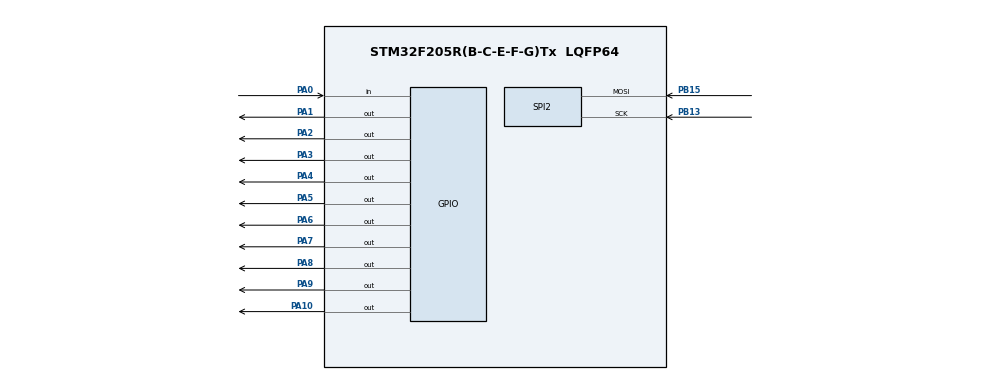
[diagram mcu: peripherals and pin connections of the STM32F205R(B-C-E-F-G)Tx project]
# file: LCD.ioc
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Mcu.Family=STM32F2
Mcu.Name=STM32F205R(B-C-E-F-G)Tx
Mcu.Package=LQFP64
NVIC.PriorityGroup=NVIC_PRIORITYGROUP_4
PA0-WKUP.Signal=GPIO_Input
PA1.Signal=GPIO_Output
PA10.Signal=GPIO_Output
PA2.Signal=GPIO_Output
PA3.Signal=GPIO_Output
PA4.Signal=GPIO_Output
PA5.Signal=GPIO_Output
PA6.Signal=GPIO_Output
PA7.Signal=GPIO_Output
PA8.Signal=GPIO_Output
PA9.Signal=GPIO_Output
PB13.Mode=RX_Only_Simplex_Unidirect_Slave
PB13.Signal=SPI2_SCK
PB15.Mode=RX_Only_Simplex_Unidirect_Slave
PB15.Signal=SPI2_MOSI
ProjectManager.TargetToolchain=EWARM 6.70
RCC.48MHZClocksFreq_Value=48000000
RCC.AHBFreq_Value=16000000
RCC.APB1Freq_Value=16000000
RCC.APB2Freq_Value=16000000
RCC.EnableExtClockForI2S-ClockTree=false
RCC.EnableHSE-ClockTree=false
RCC.EnableHSERTCDevisor-ClockTree=false
RCC.EnableLSE-ClockTree=false
RCC.EnableLSERTC-ClockTree=false
RCC.ExtClockEnable-ClockTree=false
RCC.FLatency-AdvancedSettings=FLASH_LATENCY_0
RCC.HSEState-ClockTree=RCC_HSE_OFF
RCC.HSE_VALUE=25000000
RCC.HSIState-ClockTree=RCC_HSI_ON
RCC.HSI_VALUE=16000000
RCC.I2SEnable-ClockTree=false
RCC.IWDGEnable-ClockTree=false
RCC.LSE_VALUE=32768
RCC.LSIState-ClockTree=RCC_LSI_OFF
RCC.MCO1OutPutEnable-ClockTree=false
RCC.MCO2OutPutEnable-ClockTree=false
RCC.OscillatorTypeHSI-ClockTree=RCC_OSCILLATORTYPE_HSI
RCC.PLLState-ClockTree=RCC_PLL_OFF
RCC.RNGEnable-ClockTree=false
RCC.RTCEnable-ClockTree=false
RCC.SDIOEnable-ClockTree=false
RCC.SYSCLKFreq_VALUE=16000000
RCC.USBFSEnable-ClockTree=false
RCC.USBHSEnable-ClockTree=false
RCC.VCOOutputFreq_Value=192000000
SPI2.CalculateBaudRate-RX_Only_Simplex_Unidirect_Slave=8.0 MBits/s
SPI2.Mode-RX_Only_Simplex_Unidirect_Slave=SPI_MODE_SLAVE
SPI2.NSS-RX_Only_Simplex_Unidirect_Slave=SPI_NSS_SOFT
SPI2.TIMode-RX_Only_Simplex_Unidirect_Slave=SPI_TIMODE_DISABLED
SPI2.VirtualType-RX_Only_Simplex_Unidirect_Slave=VM_SLAVE

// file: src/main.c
/**
  ******************************************************************************
  * File Name          : main.c
  * Date               : 08/11/2014 23:47:08
  * Description        : Main program body
  ******************************************************************************
  *
  * COPYRIGHT(c) 2014 STMicroelectronics
  *
  * Redistribution and use in source and binary forms, with or without modification,
  * are permitted provided that the following conditions are met:
  *   1. Redistributions of source code must retain the above copyright notice,
  *      this list of conditions and the following disclaimer.
  *   2. Redistributions in binary form must reproduce the above copyright notice,
  *      this list of conditions and the following disclaimer in the documentation
  *      and/or other materials provided with the distribution.
  *   3. Neither the name of STMicroelectronics nor the names of its contributors
  *      may be used to endorse or promote products derived from this software
  *      without specific prior written permission.
  *
  * THIS SOFTWARE IS PROVIDED BY THE COPYRIGHT HOLDERS AND CONTRIBUTORS "AS IS"
  * AND ANY EXPRESS OR IMPLIED WARRANTIES, INCLUDING, BUT NOT LIMITED TO, THE
  * IMPLIED WARRANTIES OF MERCHANTABILITY AND FITNESS FOR A PARTICULAR PURPOSE ARE
  * DISCLAIMED. IN NO EVENT SHALL THE COPYRIGHT HOLDER OR CONTRIBUTORS BE LIABLE
  * FOR ANY DIRECT, INDIRECT, INCIDENTAL, SPECIAL, EXEMPLARY, OR CONSEQUENTIAL
  * DAMAGES (INCLUDING, BUT NOT LIMITED TO, PROCUREMENT OF SUBSTITUTE GOODS OR
  * SERVICES; LOSS OF USE, DATA, OR PROFITS; OR BUSINESS INTERRUPTION) HOWEVER
  * CAUSED AND ON ANY THEORY OF LIABILITY, WHETHER IN CONTRACT, STRICT LIABILITY,
  * OR TORT (INCLUDING NEGLIGENCE OR OTHERWISE) ARISING IN ANY WAY OUT OF THE USE
  * OF THIS SOFTWARE, EVEN IF ADVISED OF THE POSSIBILITY OF SUCH DAMAGE.
  *
  ******************************************************************************
  */

#include "stm32f2xx_hal.h"

/* USER CODE BEGIN Includes */
#include "LCD.h"
#include <string.h>
#include <stdio.h>
/* USER CODE END Includes */

SPI_HandleTypeDef hspi2;

/* USER CODE BEGIN PV */
uint8_t SPI_Data;
char *str;
/* USER CODE END PV */

void SystemClock_Config(void);
static void MX_GPIO_Init(void);
static void MX_SPI2_Init(void);

int main(void)
{

  /* MCU Configuration----------------------------------------------------------*/

  /* Reset of all peripherals, Initializes the Flash interface and the Systick. */
  HAL_Init();

  /* Configure the system clock */
  SystemClock_Config();

  /* Initialize all configured peripherals */
  MX_GPIO_Init();
  MX_SPI2_Init();

  /* USER CODE BEGIN 2 */
	initLCD();
	str="Cotique love Kisa";
	writeToLCD(str);
	SPI_Data=0;
	HAL_GPIO_WritePin(GPIOB,GPIO_PIN_15,GPIO_PIN_SET);
	uint8_t SPIData;
  /* USER CODE END 2 */

  /* USER CODE BEGIN 3 */
	/* Infinite loop */
	while (1)
	{
		SPIData=77;
		HAL_SPI_Receive(&hspi2,&SPIData,1,0x200);
		printf("Message=%i\n",SPIData);
		printf("Last Error = %#010x\n", HAL_SPI_GetError(&hspi2));
	}
  /* USER CODE END 3 */

}

/** System Clock Configuration
*/
void SystemClock_Config(void)
{

  RCC_OscInitTypeDef RCC_OscInitStruct;

  RCC_OscInitStruct.OscillatorType = RCC_OSCILLATORTYPE_HSI;
  RCC_OscInitStruct.HSIState = RCC_HSI_ON;
  RCC_OscInitStruct.HSICalibrationValue = 6;
  RCC_OscInitStruct.PLL.PLLState = RCC_PLL_NONE;
  HAL_RCC_OscConfig(&RCC_OscInitStruct);

}

/* SPI2 init function */
void MX_SPI2_Init(void)
{

  hspi2.Instance = SPI2;
  hspi2.Init.Mode = SPI_MODE_SLAVE;
  hspi2.Init.Direction = SPI_DIRECTION_2LINES;
  hspi2.Init.DataSize = SPI_DATASIZE_8BIT;
  hspi2.Init.CLKPolarity = SPI_POLARITY_LOW;
  hspi2.Init.CLKPhase = SPI_PHASE_1EDGE;
  hspi2.Init.NSS = SPI_NSS_SOFT;
  hspi2.Init.BaudRatePrescaler = SPI_BAUDRATEPRESCALER_2;
  hspi2.Init.FirstBit = SPI_FIRSTBIT_MSB;
  hspi2.Init.TIMode = SPI_TIMODE_DISABLED;
  hspi2.Init.CRCCalculation = SPI_CRCCALCULATION_DISABLED;
  HAL_SPI_Init(&hspi2);

}

/** Configure pins as
        * Analog
        * Input
        * Output
        * EVENT_OUT
        * EXTI
*/
void MX_GPIO_Init(void)
{

  GPIO_InitTypeDef GPIO_InitStruct;

  /* GPIO Ports Clock Enable */
  __GPIOA_CLK_ENABLE();
  __GPIOB_CLK_ENABLE();

  /*Configure GPIO pin : PA0 */
  GPIO_InitStruct.Pin = GPIO_PIN_0;
  GPIO_InitStruct.Mode = GPIO_MODE_INPUT;
  GPIO_InitStruct.Pull = GPIO_NOPULL;
  HAL_GPIO_Init(GPIOA, &GPIO_InitStruct);

  /*Configure GPIO pins : PA1 PA2 PA3 PA4
                           PA5 PA6 PA7 PA8
                           PA9 PA10 */
  GPIO_InitStruct.Pin = GPIO_PIN_1|GPIO_PIN_2|GPIO_PIN_3|GPIO_PIN_4
                          |GPIO_PIN_5|GPIO_PIN_6|GPIO_PIN_7|GPIO_PIN_8
                          |GPIO_PIN_9|GPIO_PIN_10;
  GPIO_InitStruct.Mode = GPIO_MODE_OUTPUT_PP;
  GPIO_InitStruct.Pull = GPIO_NOPULL;
  GPIO_InitStruct.Speed = GPIO_SPEED_LOW;
  HAL_GPIO_Init(GPIOA, &GPIO_InitStruct);

}

/************************ (C) COPYRIGHT STMicroelectronics *****END OF FILE****/
